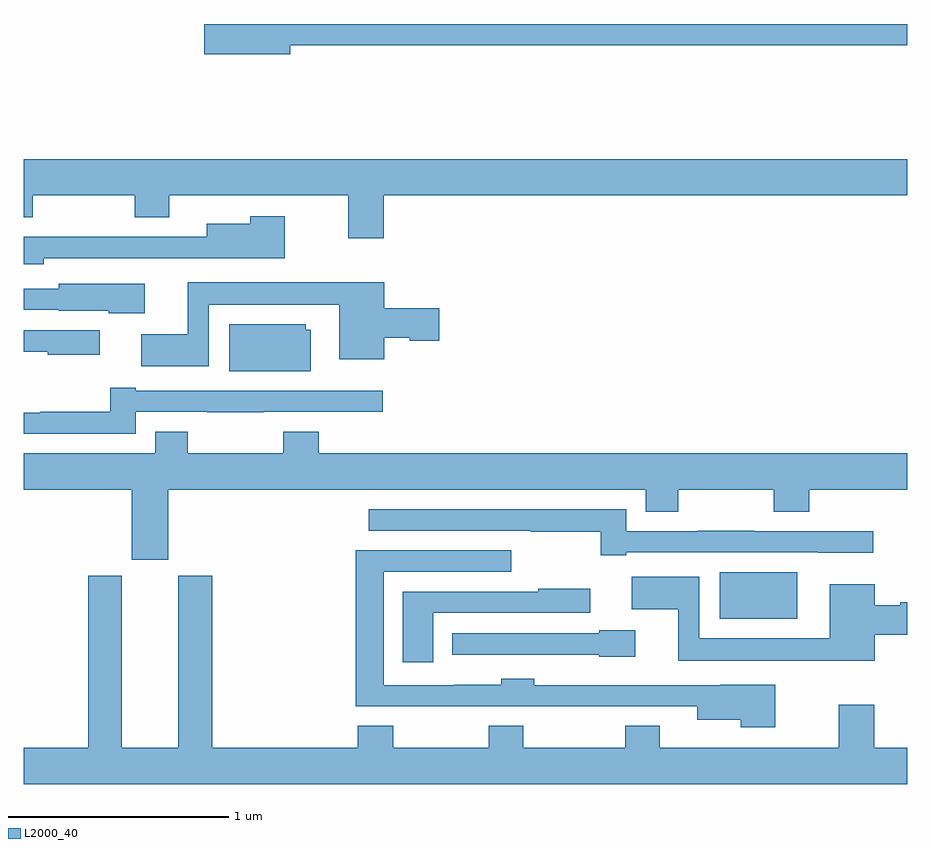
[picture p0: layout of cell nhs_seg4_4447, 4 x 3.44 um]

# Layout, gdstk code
import gdstk
lib = gdstk.Library(unit=1e-6, precision=1e-09)
def R(c, l, rs):  # rectangles x0, y0, x1, y1
    for r in rs: c.add(gdstk.rectangle(r[:2], r[2:], *l))
def P(c, l, *ps):  # polygons
    for p in ps: c.add(gdstk.Polygon(p, *l))
L2000_40 = (2000, 40)

nhs_seg4_4447 = lib.new_cell('nhs_seg4_4447')
R(nhs_seg4_4447, L2000_40, [(352.151,824.207,352.501,824.419)])
P(nhs_seg4_4447, L2000_40, [(350.206,826.804),(353,826.804),(353,826.9),(349.818,826.9),(349.818,826.762),(350.206,826.762)],
  [(350.63,826.124),(353,826.124),(353,826.288),(349,826.288),(349,826.025),(349.041,826.025),(349.041,826.124),(349.504,826.124),(349.504,826.025),(349.659,826.025),(349.659,826.124),(350.47,826.124),(350.47,825.93),(350.63,825.93)],
  [(349.092,825.84),(349.933,825.84),(349.933,825.839),(350.181,825.839),(350.181,826.03),(350.026,826.03),(350.026,825.997),(349.829,825.997),(349.829,825.936),(349.415,825.936),(349.415,825.938),(349,825.938),(349,825.812),(349.092,825.812)],
  [(349.839,825.629),(350.429,825.629),(350.429,825.383),(350.632,825.383),(350.632,825.479),(350.748,825.479),(350.748,825.467),(350.881,825.467),(350.881,825.614),(350.632,825.614),(350.632,825.73),(349.742,825.73),(349.742,825.496),(349.533,825.496),(349.533,825.35),(349.839,825.35)],
  [(349.549,825.724),(349.158,825.724),(349.158,825.702),(349,825.702),(349,825.606),(349.158,825.606),(349.158,825.602),(349.386,825.602),(349.386,825.591),(349.549,825.591)],
  [(350.299,825.516),(350.277,825.516),(350.277,825.541),(349.931,825.541),(349.931,825.329),(350.299,825.329)],
  [(349.345,825.513),(349,825.513),(349,825.417),(349.109,825.417),(349.109,825.404),(349.345,825.404)],
  [(349.507,825.144),(349.831,825.144),(349.831,825.143),(350.087,825.143),(350.087,825.144),(350.626,825.144),(350.626,825.241),(350.377,825.241),(350.377,825.24),(349.507,825.24),(349.507,825.253),(349.393,825.253),(349.393,825.146),(349.075,825.146),(349.075,825.141),(349,825.141),(349,825.045),(349.507,825.045)],
  [(349.654,824.792),(351.815,824.792),(351.815,824.693),(351.963,824.693),(351.963,824.792),(352.396,824.792),(352.396,824.693),(352.556,824.693),(352.556,824.792),(353,824.792),(353,824.956),(350.336,824.956),(350.336,825.055),(350.176,825.055),(350.176,824.956),(349.743,824.956),(349.743,825.055),(349.595,825.055),(349.595,824.956),(349,824.956),(349,824.792),(349.49,824.792),(349.49,824.475),(349.654,824.475)],
  [(351.727,824.508),(352.597,824.508),(352.597,824.507),(352.846,824.507),(352.846,824.604),(352.307,824.604),(352.307,824.606),(352.051,824.606),(352.051,824.604),(351.727,824.604),(351.727,824.703),(350.562,824.703),(350.562,824.607),(351.295,824.607),(351.295,824.602),(351.613,824.602),(351.613,824.496),(351.727,824.496)],
  [(352.401,823.909),(352.153,823.909),(352.153,823.908),(351.312,823.908),(351.312,823.936),(351.162,823.936),(351.162,823.909),(350.95,823.909),(350.95,823.908),(350.629,823.908),(350.629,824.421),(351.208,824.421),(351.208,824.517),(350.504,824.517),(350.504,823.811),(351.635,823.811),(351.635,823.812),(352.049,823.812),(352.049,823.751),(352.246,823.751),(352.246,823.718),(352.401,823.718)],
  [(353,823.624),(352.85,823.624),(352.85,823.819),(352.69,823.819),(352.69,823.624),(351.879,823.624),(351.879,823.723),(351.724,823.723),(351.724,823.624),(351.261,823.624),(351.261,823.723),(351.106,823.723),(351.106,823.624),(350.673,823.624),(350.673,823.723),(350.513,823.723),(350.513,823.624),(349.853,823.624),(349.853,824.403),(349.7,824.403),(349.7,823.624),(349.444,823.624),(349.444,824.403),(349.292,824.403),(349.292,823.624),(349,823.624),(349,823.46),(353,823.46)],
  [(352.852,824.135),(353,824.135),(353,824.282),(352.968,824.282),(352.968,824.269),(352.852,824.269),(352.852,824.365),(352.649,824.365),(352.649,824.119),(352.059,824.119),(352.059,824.398),(351.753,824.398),(351.753,824.252),(351.962,824.252),(351.962,824.018),(352.852,824.018)],
  [(350.854,824.235),(351.565,824.235),(351.565,824.344),(351.329,824.344),(351.329,824.331),(350.717,824.331),(350.717,824.01),(350.854,824.01)],
  [(351.769,824.157),(351.606,824.157),(351.606,824.142),(350.939,824.142),(350.939,824.046),(351.606,824.046),(351.606,824.036),(351.769,824.036)])

lib.write_gds('nhs_seg4_4447.gds')
